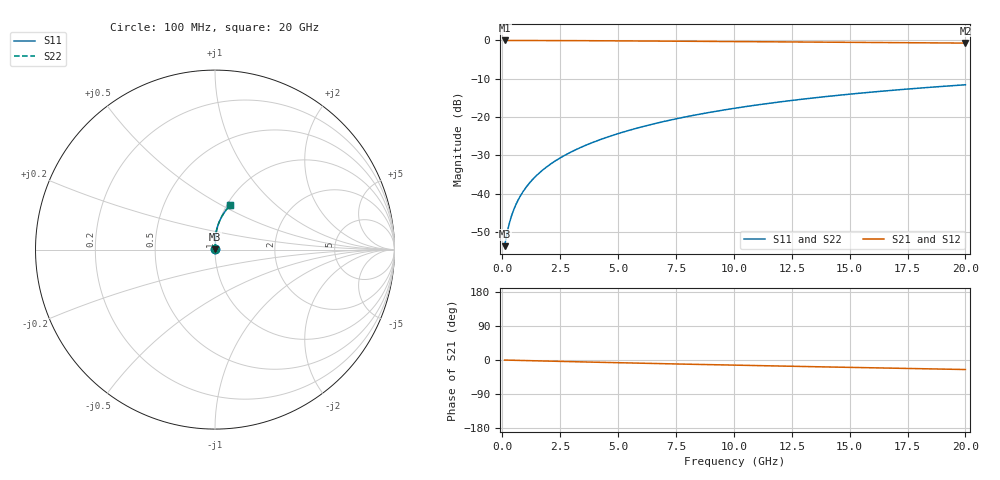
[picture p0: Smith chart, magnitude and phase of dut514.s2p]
! Touchstone file exported from HFSS 2024.1.0
!  File:  C:/UserFiles/LocalFiles/RDL_TSV_Batchsim/temp_RDL_bottom_514_1779687817.aedt
!  Generated:  01:46:14 PM May 25, 2026
!  Design:  RDL_bottom
!  Project:  temp_RDL_bottom_514_1779687817
!  Setup:  Setup1
!  Solution:  Sweep
! Variables:
!  dtsv = 10.80580581um
!  hbump = 3um
!  htsv = 73.42um
!  ldown = 315.69um
!  lrdl = 100um
!  p = 40
!  p1 = 55.71um
!  rhole = 1um
!  t = 450um
!  tdown = 3.33um
!  trdl = 3.915915916um
!  wdown = 24.14um
!  wrdl = 20um
# GHz S MA R 50.000000
! Terminal data exported
! Port[1] = RDL1_T1
! Port[2] = RDL1_T2
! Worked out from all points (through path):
!   200 points, 100 MHz to 20 GHz, reference 50 ohm
!   highest |S21| = -0.01 dB at 100 MHz (marker M1); lowest = -0.7 dB at 20 GHz (marker M2)
!   group delay of S21, straight-line fit = 3.45 ps
!   lowest |S11| = -53.7 dB at 100 MHz (marker M3), VSWR 1.00, Z = 50.2 + j0.126 ohm
!   |S11| at or under -10 dB: start of sweep to end of sweep
!   |S22| runs from -53.7 to -11.6 dB; largest |S21 - S12| = 3.9e-15
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0.1  0.00206 37.7  0.9984 -0.2  0.9984 -0.2  0.00206 37.7
! Gamma 0 0 0 0
! Port Impedance 50 0 50 0
0.2  0.003005 55.5  0.9983 -0.3  0.9983 -0.3  0.003005 55.5
0.3  0.004062 64.1  0.9982 -0.5  0.9982 -0.5  0.004062 64.1
0.4  0.00514 69.1  0.9981 -0.6  0.9981 -0.6  0.00514 69.1
0.5  0.006227 72.5  0.998 -0.8  0.998 -0.8  0.006227 72.5
0.6  0.007321 75.0  0.9979 -0.9  0.9979 -0.9  0.007321 75.0
0.8  0.009534 78.4  0.9977 -1.2  0.9977 -1.2  0.009534 78.4
1.1  0.0129 81.5  0.9973 -1.6  0.9973 -1.6  0.0129 81.5
1.5  0.01748 83.9  0.9967 -2.2  0.9967 -2.2  0.01748 83.9
1.8  0.02096 85.0  0.9962 -2.7  0.9962 -2.7  0.02096 85.1
2.1  0.02448 85.9  0.9956 -3.1  0.9956 -3.1  0.02448 85.9
2.7  0.03164 87.0  0.9942 -4.0  0.9942 -4.0  0.03164 87.0
3.5  0.04147 87.8  0.9919 -5.1  0.9919 -5.1  0.04147 87.8
4.2  0.05032 88.0  0.9896 -6.1  0.9896 -6.1  0.05032 88.0
5  0.06071 88.0  0.9867 -7.2  0.9867 -7.2  0.06071 88.0
5.9  0.0727 87.6  0.9832 -8.4  0.9832 -8.4  0.0727 87.6
6.8  0.08495 87.0  0.9795 -9.5  0.9795 -9.5  0.08495 87.0
8.4  0.1072 85.5  0.9728 -11.6  0.9728 -11.6  0.1072 85.6
10.1  0.131 83.6  0.9656 -13.7  0.9656 -13.7  0.131 83.6
13.4  0.1769 79.4  0.9515 -17.6  0.9515 -17.6  0.1769 79.4
16.7  0.2213 75.1  0.9372 -21.4  0.9372 -21.4  0.2213 75.1
20  0.2635 70.9  0.9225 -25.1  0.9225 -25.1  0.2635 70.9
